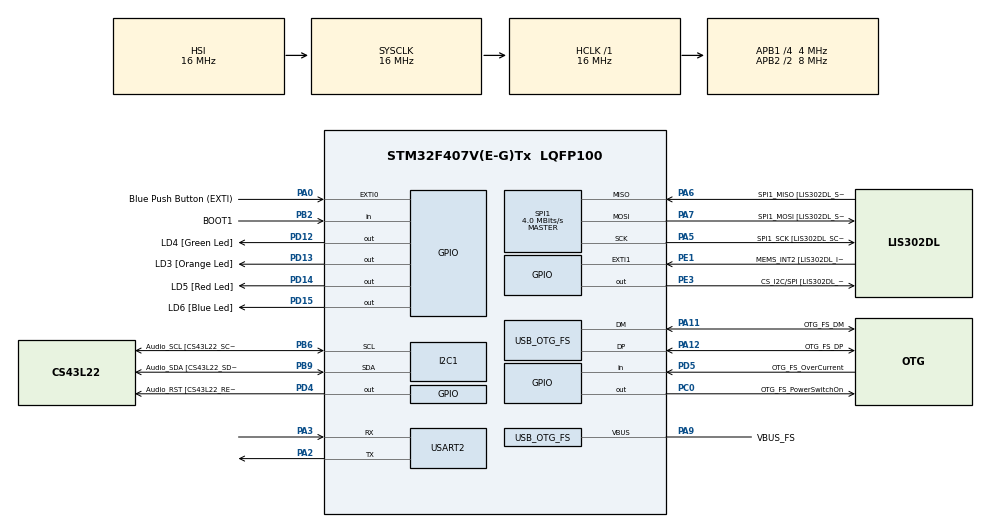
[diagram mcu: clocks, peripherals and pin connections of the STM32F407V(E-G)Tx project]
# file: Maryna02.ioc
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Mcu.Family=STM32F4
Mcu.Name=STM32F407V(E-G)Tx
Mcu.Package=LQFP100
NVIC.EXTI0_IRQn=true\:0\:0\:false\:false\:true\:true\:true
NVIC.OTG_FS_IRQn=true\:0\:0\:false\:false\:true\:true\:true
NVIC.PriorityGroup=NVIC_PRIORITYGROUP_0
NVIC.TIM1_TRG_COM_TIM11_IRQn=true\:0\:0\:false\:false\:true\:true\:true
NVIC.TIM8_TRG_COM_TIM14_IRQn=true\:0\:0\:false\:false\:true\:true\:true
NVIC.TIM8_UP_TIM13_IRQn=true\:0\:0\:false\:false\:true\:true\:true
PA0-WKUP.GPIO_Label=Blue Push Button (EXTI)
PA0-WKUP.GPIO_ModeDefaultEXTI=GPIO_MODE_IT_RISING
PA0-WKUP.GPIO_PuPd=GPIO_NOPULL
PA0-WKUP.Signal=GPXTI0
PA10.GPIO_Label=OTG_FS_ID
PA10.GPIO_Mode=GPIO_MODE_AF_PP
PA10.GPIO_PuPd=GPIO_NOPULL
PA10.GPIO_Speed=GPIO_SPEED_FREQ_LOW
PA10.Signal=USB_OTG_FS_ID
PA11.GPIO_Label=OTG_FS_DM
PA11.GPIO_Mode=GPIO_MODE_AF_PP
PA11.GPIO_PuPd=GPIO_NOPULL
PA11.GPIO_Speed=GPIO_SPEED_FREQ_LOW
PA11.Mode=Host_Only
PA11.Signal=USB_OTG_FS_DM
PA12.GPIO_Label=OTG_FS_DP
PA12.GPIO_Mode=GPIO_MODE_AF_PP
PA12.GPIO_PuPd=GPIO_NOPULL
PA12.GPIO_Speed=GPIO_SPEED_FREQ_LOW
PA12.Mode=Host_Only
PA12.Signal=USB_OTG_FS_DP
PA13.GPIO_Label=SWDIO
PA13.Mode=Serial_Wire
PA13.Signal=SYS_JTMS-SWDIO
PA14.GPIO_Label=SWCLK
PA14.Mode=Serial_Wire
PA14.Signal=SYS_JTCK-SWCLK
PA2.Mode=Asynchronous
PA2.Signal=USART2_TX
PA3.Mode=Asynchronous
PA3.Signal=USART2_RX
PA4.GPIO_Label=I2S3_WS [CS43L22_LRCK]
PA4.GPIO_Mode=GPIO_MODE_AF_PP
PA4.GPIO_PuPd=GPIO_NOPULL
PA4.GPIO_Speed=GPIO_SPEED_FREQ_LOW
PA4.Signal=I2S3_WS
PA5.GPIO_Label=SPI1_SCK [LIS302DL_SCL/SPC]
PA5.GPIO_Mode=GPIO_MODE_AF_PP
PA5.GPIO_PuPd=GPIO_NOPULL
PA5.GPIO_Speed=GPIO_SPEED_FREQ_LOW
PA5.Mode=Full_Duplex_Master
PA5.Signal=SPI1_SCK
PA6.GPIO_Label=SPI1_MISO [LIS302DL_SDO]
PA6.GPIO_Mode=GPIO_MODE_AF_PP
PA6.GPIO_PuPd=GPIO_NOPULL
PA6.GPIO_Speed=GPIO_SPEED_FREQ_LOW
PA6.Mode=Full_Duplex_Master
PA6.Signal=SPI1_MISO
PA7.GPIO_Label=SPI1_MOSI [LIS302DL_SDA/SDI/SDO]
PA7.GPIO_Mode=GPIO_MODE_AF_PP
PA7.GPIO_PuPd=GPIO_NOPULL
PA7.GPIO_Speed=GPIO_SPEED_FREQ_LOW
PA7.Mode=Full_Duplex_Master
PA7.Signal=SPI1_MOSI
PA9.GPIO_Label=VBUS_FS
PA9.GPIO_Mode=GPIO_MODE_INPUT
PA9.GPIO_PuPd=GPIO_NOPULL
PA9.Mode=Activate_VBUS
PA9.Signal=USB_OTG_FS_VBUS
PB10.GPIO_Label=CLK_IN [MP45DT02_CLK]
PB10.GPIO_Mode=GPIO_MODE_AF_PP
PB10.GPIO_PuPd=GPIO_NOPULL
PB10.GPIO_Speed=GPIO_SPEED_FREQ_LOW
PB10.Signal=I2S2_CK
PB2.GPIO_Label=BOOT1
PB2.GPIO_Mode=GPIO_MODE_INPUT
PB2.GPIO_PuPd=GPIO_NOPULL
PB2.Signal=GPIO_Input
PB3.GPIO_Label=SWO
PB3.Signal=SYS_JTDO-SWO
PB6.GPIO_Label=Audio_SCL [CS43L22_SCL]
PB6.GPIO_Mode=GPIO_MODE_AF_OD
PB6.GPIO_Pu=GPIO_PULLUP
PB6.GPIO_PuPd=GPIO_NOPULL
PB6.GPIO_Speed=GPIO_SPEED_FREQ_LOW
PB6.Mode=I2C
PB6.Signal=I2C1_SCL
PB9.GPIO_Label=Audio_SDA [CS43L22_SDA]
PB9.GPIO_Mode=GPIO_MODE_AF_OD
PB9.GPIO_Pu=GPIO_PULLUP
PB9.GPIO_PuPd=GPIO_NOPULL
PB9.GPIO_Speed=GPIO_SPEED_FREQ_LOW
PB9.Mode=I2C
PB9.Signal=I2C1_SDA
PC0.GPIO_Label=OTG_FS_PowerSwitchOn
PC0.GPIO_PuPd=GPIO_NOPULL
PC0.GPIO_Speed=GPIO_SPEED_FREQ_LOW
PC0.PinState=GPIO_PIN_SET
PC0.Signal=GPIO_Output
PC10.GPIO_Label=I2S3_SCK [CS43L22_SCLK]
PC10.GPIO_Mode=GPIO_MODE_AF_PP
PC10.GPIO_PuPd=GPIO_NOPULL
PC10.GPIO_Speed=GPIO_SPEED_FREQ_LOW
PC10.Signal=I2S3_CK
PC12.GPIO_Label=I2S3_SD [CS43L22_SDIN]
PC12.GPIO_Mode=GPIO_MODE_AF_PP
PC12.GPIO_PuPd=GPIO_NOPULL
PC12.GPIO_Speed=GPIO_SPEED_FREQ_LOW
PC12.Signal=I2S3_SD
PC14-OSC32_IN.GPIO_Label=PC14-OSC32_IN
PC14-OSC32_IN.Mode=LSE-External-Oscillator
PC14-OSC32_IN.Signal=RCC_OSC32_IN
PC15-OSC32_OUT.GPIO_Label=PC15-OSC32_OUT
PC15-OSC32_OUT.Mode=LSE-External-Oscillator
PC15-OSC32_OUT.Signal=RCC_OSC32_OUT
PC3.GPIO_Label=PDM_OUT [MP45DT02_DOUT]
PC3.GPIO_Mode=GPIO_MODE_AF_PP
PC3.GPIO_PuPd=GPIO_NOPULL
PC3.GPIO_Speed=GPIO_SPEED_FREQ_LOW
PC3.Signal=I2S2_SD
PC7.GPIO_Label=I2S3_MCK [CS43L22_MCLK]
PC7.GPIO_Mode=GPIO_MODE_AF_PP
PC7.GPIO_PuPd=GPIO_NOPULL
PC7.GPIO_Speed=GPIO_SPEED_FREQ_LOW
PC7.Signal=I2S3_MCK
PD12.GPIO_Label=LD4 [Green Led]
PD12.GPIO_PuPd=GPIO_NOPULL
PD12.GPIO_Speed=GPIO_SPEED_FREQ_LOW
PD12.Signal=GPIO_Output
PD13.GPIO_Label=LD3 [Orange Led]
PD13.GPIO_PuPd=GPIO_NOPULL
PD13.GPIO_Speed=GPIO_SPEED_FREQ_LOW
PD13.Signal=GPIO_Output
PD14.GPIO_Label=LD5 [Red Led]
PD14.GPIO_PuPd=GPIO_NOPULL
PD14.GPIO_Speed=GPIO_SPEED_FREQ_LOW
PD14.Signal=GPIO_Output
PD15.GPIO_Label=LD6 [Blue Led]
PD15.GPIO_PuPd=GPIO_NOPULL
PD15.GPIO_Speed=GPIO_SPEED_FREQ_LOW
PD15.Signal=GPIO_Output
PD4.GPIO_Label=Audio_RST [CS43L22_RESET]
PD4.GPIO_PuPd=GPIO_NOPULL
PD4.GPIO_Speed=GPIO_SPEED_FREQ_LOW
PD4.Signal=GPIO_Output
PD5.GPIO_Label=OTG_FS_OverCurrent
PD5.GPIO_Mode=GPIO_MODE_INPUT
PD5.GPIO_PuPd=GPIO_NOPULL
PD5.Signal=GPIO_Input
PE1.GPIO_Label=MEMS_INT2 [LIS302DL_INT2]
PE1.GPIO_ModeDefaultEXTI=GPIO_MODE_EVT_RISING
PE1.GPIO_PuPd=GPIO_NOPULL
PE1.Signal=GPXTI1
PE3.GPIO_Label=CS_I2C/SPI [LIS302DL_CS_I2C/SPI]
PE3.GPIO_PuPd=GPIO_NOPULL
PE3.GPIO_Speed=GPIO_SPEED_FREQ_LOW
PE3.Signal=GPIO_Output
PH0-OSC_IN.GPIO_Label=PH0-OSC_IN
PH0-OSC_IN.Mode=HSE-External-Oscillator
PH0-OSC_IN.Signal=RCC_OSC_IN
PH1-OSC_OUT.GPIO_Label=PH1-OSC_OUT
PH1-OSC_OUT.Mode=HSE-External-Oscillator
PH1-OSC_OUT.Signal=RCC_OSC_OUT
ProjectManager.HeapSize=0x200
ProjectManager.StackSize=0x400
ProjectManager.TargetToolchain=STM32CubeIDE
RCC.48MHZClocksFreq_Value=48000000
RCC.AHBFreq_Value=16000000
RCC.APB1CLKDivider=RCC_HCLK_DIV4
RCC.APB1Freq_Value=4000000
RCC.APB1TimFreq_Value=8000000
RCC.APB2CLKDivider=RCC_HCLK_DIV2
RCC.APB2Freq_Value=8000000
RCC.APB2TimFreq_Value=16000000
RCC.CortexFreq_Value=16000000
RCC.HCLKFreq_Value=16000000
RCC.HSE_VALUE=8000000
RCC.HSI_VALUE=16000000
RCC.PLLI2SN=50
RCC.PLLM=4
RCC.PLLN=168
RCC.PLLQ=7
RCC.SYSCLKFreq_VALUE=16000000
RCC.VCOOutputFreq_Value=336000000
SPI1.BaudRatePrescaler=SPI_BAUDRATEPRESCALER_2
SPI1.BaudRatePrescaler-Full_Duplex_Master=SPI_BAUDRATEPRESCALER_2
SPI1.CalculateBaudRate=4.0 MBits/s
SPI1.CalculateBaudRate-Full_Duplex_Master=42.0 MBits/s
SPI1.Direction=SPI_DIRECTION_2LINES
SPI1.Mode=SPI_MODE_MASTER
SPI1.Mode-Full_Duplex_Master=SPI_MODE_MASTER
SPI1.VirtualType=VM_MASTER
TIM11.AutoReloadPreload=TIM_AUTORELOAD_PRELOAD_ENABLE
TIM11.Period=499
TIM11.Prescaler=7999
TIM13.AutoReloadPreload=TIM_AUTORELOAD_PRELOAD_ENABLE
TIM13.Period=1999
TIM13.Prescaler=7999
TIM14.AutoReloadPreload=TIM_AUTORELOAD_PRELOAD_ENABLE
TIM14.Period=79
TIM14.Prescaler=7999
USART2.VirtualMode=VM_ASYNC
USB_HOST.BSP.number=1
USB_HOST.USBH_HandleTypeDef-CDC_FS=hUsbHostFS
USB_HOST.VirtualModeFS=Cdc
USB_HOST0.BSP.STBoard=false
USB_HOST0.BSP.api=Unknown
USB_HOST0.BSP.i2caddr=0
USB_HOST0.BSP.i2creg=0
USB_HOST0.BSP.instance=PC0
USB_HOST0.BSP.ip=GPIO
USB_HOST0.BSP.mode=Output
USB_HOST0.BSP.name=Drive_VBUS_FS
USB_HOST0.BSP.solution=PC0
USB_OTG_FS.VirtualMode=Host_Only
USB_OTG_FS.phy_itface=HCD_PHY_EMBEDDED
VP_TIM11_VS_ClockSourceINT.Mode=Enable_Timer
VP_TIM13_VS_ClockSourceINT.Mode=Enable_Timer
VP_TIM14_VS_ClockSourceINT.Mode=Enable_Timer
VP_USB_HOST_VS_USB_HOST_CDC_FS.Mode=CDC_FS
board=STM32F407G-DISC1

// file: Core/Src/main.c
	/* USER CODE BEGIN Header */
/**
  ******************************************************************************
  * @file           : main.c
  * @brief          : Main program body
  ******************************************************************************
  * @attention
  *
  * <h2><center>&copy; Copyright (c) 2021 STMicroelectronics.
  * All rights reserved.</center></h2>
  *
  * This software component is licensed by ST under Ultimate Liberty license
  * SLA0044, the "License"; You may not use this file except in compliance with
  * the License. You may obtain a copy of the License at:
  *                             www.st.com/SLA0044
  *
  ******************************************************************************
  */
/* USER CODE END Header */
#include "main.h"
#include "i2c.h"
#include "spi.h"
#include "tim.h"
#include "usart.h"
#include "usb_host.h"
#include "gpio.h"

/* USER CODE BEGIN Includes */
#include "stdbool.h"
#include <stdio.h>

/* USER CODE END Includes */

/* USER CODE BEGIN PV */
  volatile bool Status=false, BlockButton=false;
  volatile int Counter=0;

/* USER CODE END PV */

void SystemClock_Config(void);
void MX_USB_HOST_Process(void);

int main(void)
{

  /* MCU Configuration--------------------------------------------------------*/

  /* Reset of all peripherals, Initializes the Flash interface and the Systick. */
  HAL_Init();

  /* Configure the system clock */
  SystemClock_Config();

  /* Initialize all configured peripherals */
  MX_GPIO_Init();
  MX_I2C1_Init();
  MX_SPI1_Init();
  MX_USB_HOST_Init();
  MX_TIM14_Init();
  MX_TIM13_Init();
  MX_TIM11_Init();
  MX_USART2_UART_Init();
  /* USER CODE BEGIN 2 */
  //HAL_TIM_Base_Start_IT(&htim14);
  /* USER CODE END 2 */

  /* Infinite loop */
  while (1)
  {
    MX_USB_HOST_Process();

    /* USER CODE BEGIN 3 */
    printf("systick = %lu\n", HAL_GetTick());
    if (BlockButton) //flashing
    {

    	HAL_GPIO_WritePin(LD5_GPIO_Port, LD5_Pin, Status);
    	if (!Counter)
    		{
    			BlockButton=false;
    			HAL_TIM_Base_Stop_IT(&htim11);

    		}
    }
    else
    {

    	// only echo of pushing
    	HAL_GPIO_WritePin(LD6_GPIO_Port, LD6_Pin, HAL_GPIO_ReadPin(Blue_Push_Button_GPIO_Port, Blue_Push_Button_Pin));
    }

  }
  /* USER CODE END 3 */
}

void SystemClock_Config(void)
{
  RCC_OscInitTypeDef RCC_OscInitStruct = {0};
  RCC_ClkInitTypeDef RCC_ClkInitStruct = {0};

  /** Configure the main internal regulator output voltage
  */
  __HAL_RCC_PWR_CLK_ENABLE();
  __HAL_PWR_VOLTAGESCALING_CONFIG(PWR_REGULATOR_VOLTAGE_SCALE1);
  /** Initializes the RCC Oscillators according to the specified parameters
  * in the RCC_OscInitTypeDef structure.
  */
  RCC_OscInitStruct.OscillatorType = RCC_OSCILLATORTYPE_HSI|RCC_OSCILLATORTYPE_HSE;
  RCC_OscInitStruct.HSEState = RCC_HSE_ON;
  RCC_OscInitStruct.HSIState = RCC_HSI_ON;
  RCC_OscInitStruct.HSICalibrationValue = RCC_HSICALIBRATION_DEFAULT;
  RCC_OscInitStruct.PLL.PLLState = RCC_PLL_ON;
  RCC_OscInitStruct.PLL.PLLSource = RCC_PLLSOURCE_HSE;
  RCC_OscInitStruct.PLL.PLLM = 4;
  RCC_OscInitStruct.PLL.PLLN = 168;
  RCC_OscInitStruct.PLL.PLLP = RCC_PLLP_DIV2;
  RCC_OscInitStruct.PLL.PLLQ = 7;
  if (HAL_RCC_OscConfig(&RCC_OscInitStruct) != HAL_OK)
  {
    Error_Handler();
  }
  /** Initializes the CPU, AHB and APB buses clocks
  */
  RCC_ClkInitStruct.ClockType = RCC_CLOCKTYPE_HCLK|RCC_CLOCKTYPE_SYSCLK
                              |RCC_CLOCKTYPE_PCLK1|RCC_CLOCKTYPE_PCLK2;
  RCC_ClkInitStruct.SYSCLKSource = RCC_SYSCLKSOURCE_HSI;
  RCC_ClkInitStruct.AHBCLKDivider = RCC_SYSCLK_DIV1;
  RCC_ClkInitStruct.APB1CLKDivider = RCC_HCLK_DIV4;
  RCC_ClkInitStruct.APB2CLKDivider = RCC_HCLK_DIV2;

  if (HAL_RCC_ClockConfig(&RCC_ClkInitStruct, FLASH_LATENCY_0) != HAL_OK)
  {
    Error_Handler();
  }
}

/* USER CODE BEGIN 4 */
void HAL_GPIO_EXTI_Callback(uint16_t GPIO_Pin)
{
	if (GPIO_Pin == Blue_Push_Button_Pin)
	{

		HAL_TIM_Base_Start_IT(&htim14);//40 miliseconds

	}
}

void HAL_TIM_PeriodElapsedCallback(TIM_HandleTypeDef *htim)
{
	if (htim->Instance==TIM14)
	{

			HAL_TIM_Base_Stop_IT(&htim14);
			HAL_TIM_Base_Start_IT(&htim13); // 2 seconds
			Counter++;

	}

	if (htim->Instance==TIM13)
	{
		HAL_TIM_Base_Stop_IT(&htim13);
		BlockButton=true;
		Counter*=2;
		HAL_TIM_Base_Start_IT(&htim11); // 250 miliseconds
	}

	if (htim->Instance==TIM11)
	{
		Status=!Status;
		Counter--;
	}

}

int __io_putchar(int ch)
{
  if (ch == '\n') {
    __io_putchar('\r');
  }

  HAL_UART_Transmit(&huart2, (uint8_t*)&ch, 1, HAL_MAX_DELAY);

  return 1;
}

/* USER CODE END 4 */

void Error_Handler(void)
{
  __disable_irq();
  while (1)
  {
  }
}

/************************ (C) COPYRIGHT STMicroelectronics *****END OF FILE****/
